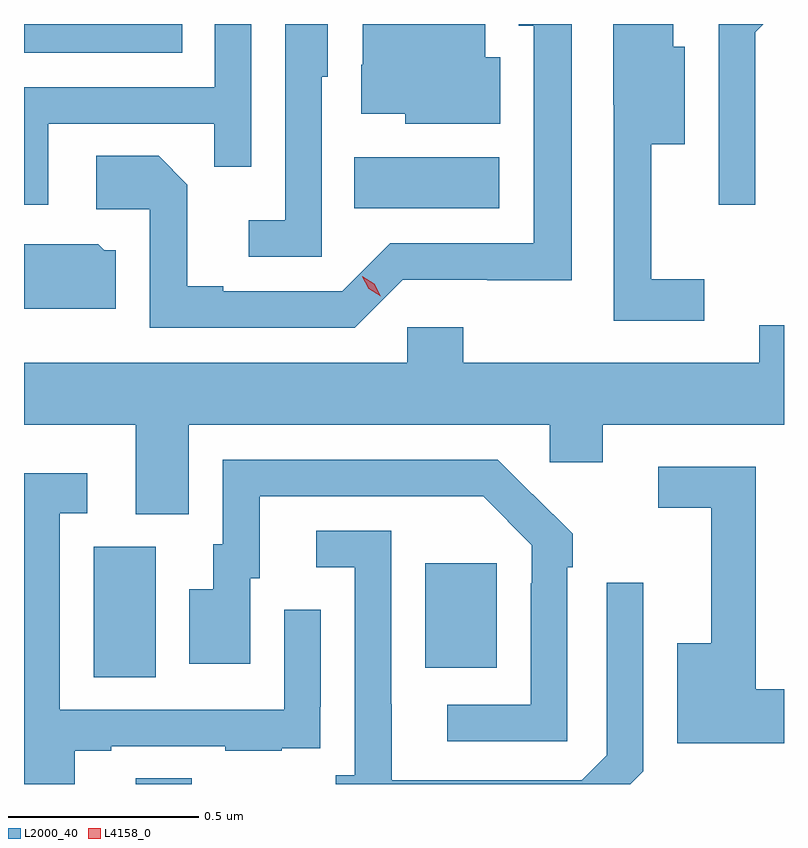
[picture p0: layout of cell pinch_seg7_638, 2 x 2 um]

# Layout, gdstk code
import gdstk
lib = gdstk.Library(unit=1e-6, precision=1e-09)
def R(c, l, rs):  # rectangles x0, y0, x1, y1
    for r in rs: c.add(gdstk.rectangle(r[:2], r[2:], *l))
def P(c, l, *ps):  # polygons
    for p in ps: c.add(gdstk.Polygon(p, *l))
L2000_40 = (2000, 40)
L4158_0 = (4158, 0)

pinch_seg7_638 = lib.new_cell('pinch_seg7_638')
R(pinch_seg7_638, L2000_40, [(147.227,1018.319,147.375,1018.334), (147.116,1018.6,147.28,1018.944), (147.989,1018.625,148.177,1018.9), (147.802,1019.834,148.183,1019.968), (146.933,1020.243,147.35,1020.319)])
P(pinch_seg7_638, L2000_40, [(147.717,1020.18),(147.732,1020.18),(147.732,1020.319),(147.621,1020.319),(147.621,1019.803),(147.525,1019.803),(147.525,1019.706),(147.717,1019.706)],
  [(148.186,1020.232),(148.147,1020.232),(148.147,1020.319),(147.825,1020.319),(147.825,1020.212),(147.821,1020.212),(147.821,1020.083),(147.936,1020.083),(147.936,1020.056),(148.186,1020.056)],
  [(146.997,1020.057),(147.433,1020.057),(147.433,1019.944),(147.531,1019.944),(147.531,1020.319),(147.435,1020.319),(147.435,1020.153),(146.933,1020.153),(146.933,1019.844),(146.997,1019.844)],
  [(148.723,1019.647),(148.583,1019.647),(148.583,1020.002),(148.672,1020.002),(148.672,1020.259),(148.642,1020.259),(148.642,1020.319),(148.484,1020.319),(148.484,1020.106),(148.485,1020.106),(148.485,1019.538),(148.723,1019.538)],
  [(148.857,1020.297),(148.879,1020.319),(148.761,1020.319),(148.761,1019.844),(148.857,1019.844)],
  [(147.93,1019.646),(148.152,1019.646),(148.152,1019.645),(148.375,1019.645),(148.375,1020.319),(148.235,1020.319),(148.235,1020.315),(148.274,1020.315),(148.274,1019.742),(147.897,1019.742),(147.771,1019.616),(147.457,1019.616),(147.457,1019.629),(147.363,1019.629),(147.363,1019.896),(147.287,1019.972),(147.123,1019.972),(147.123,1019.832),(147.264,1019.832),(147.264,1019.52),(147.804,1019.52)],
  [(147.175,1019.724),(147.144,1019.724),(147.128,1019.74),(146.994,1019.74),(146.994,1019.739),(146.933,1019.739),(146.933,1019.57),(147.175,1019.57)],
  [(147.367,1019.264),(148.317,1019.264),(148.317,1019.166),(148.456,1019.166),(148.456,1019.264),(148.933,1019.264),(148.933,1019.526),(148.868,1019.526),(148.868,1019.428),(148.089,1019.428),(148.089,1019.521),(147.942,1019.521),(147.942,1019.428),(146.933,1019.428),(146.933,1019.264),(147.227,1019.264),(147.227,1019.029),(147.367,1019.029)],
  [(148.362,1018.889),(148.377,1018.889),(148.377,1018.977),(148.272,1019.082),(148.271,1019.081),(148.18,1019.172),(147.456,1019.172),(147.456,1018.95),(147.431,1018.95),(147.431,1018.831),(147.368,1018.831),(147.368,1018.635),(147.529,1018.635),(147.529,1018.86),(147.553,1018.86),(147.553,1019.076),(148.141,1019.076),(148.269,1018.947),(148.269,1018.847),(148.266,1018.847),(148.266,1018.527),(148.047,1018.527),(148.047,1018.431),(148.362,1018.431)],
  [(148.933,1018.568),(148.859,1018.568),(148.859,1019.154),(148.602,1019.154),(148.602,1019.046),(148.742,1019.046),(148.742,1018.69),(148.652,1018.69),(148.652,1018.426),(148.933,1018.426)],
  [(147.067,1018.407),(147.163,1018.407),(147.163,1018.419),(147.463,1018.419),(147.463,1018.407),(147.611,1018.407),(147.611,1018.413),(147.713,1018.413),(147.713,1018.522),(147.714,1018.522),(147.714,1018.777),(147.618,1018.777),(147.618,1018.515),(147.027,1018.515),(147.027,1019.031),(147.1,1019.031),(147.1,1019.137),(146.933,1019.137),(146.933,1018.319),(147.067,1018.319)],
  [(148.563,1018.353),(148.563,1018.849),(148.467,1018.849),(148.467,1018.395),(148.401,1018.329),(147.901,1018.329),(147.901,1018.529),(147.9,1018.529),(147.9,1018.986),(147.702,1018.986),(147.702,1018.89),(147.804,1018.89),(147.804,1018.342),(147.753,1018.342),(147.753,1018.319),(148.529,1018.319)])
P(pinch_seg7_638, L4158_0, [(147.872,1019.602),(147.84,1019.622),(147.823,1019.654),(147.823,1019.655),(147.823,1019.655),(147.855,1019.635),(147.872,1019.603),(147.872,1019.602)])

lib.write_gds('pinch_seg7_638.gds')
